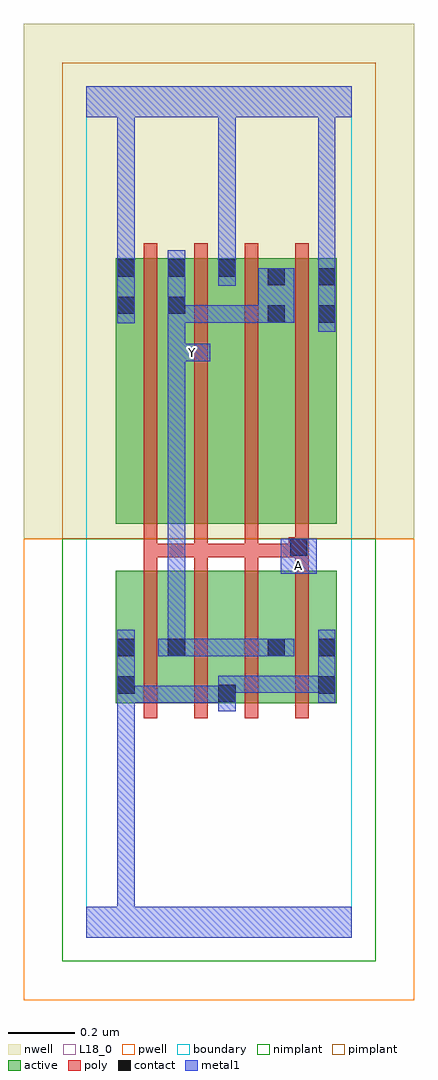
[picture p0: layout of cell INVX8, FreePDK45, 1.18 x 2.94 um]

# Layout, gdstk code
import gdstk
lib = gdstk.Library(unit=1e-6, precision=1e-09)
def R(c, l, rs):  # rectangles x0, y0, x1, y1
    for r in rs: c.add(gdstk.rectangle(r[:2], r[2:], *l))
def A(c, l, x, y, w, h, nx, ny, dx, dy):  # array of equal rectangles
    R(c, l, [(x+i*dx, y+j*dy, x+i*dx+w, y+j*dy+h) for i in range(nx) for j in range(ny)])
active = (1, 0)
pwell = (2, 0)
nwell = (3, 0)
nimplant = (4, 0)
pimplant = (5, 0)
poly = (9, 0)
contact = (10, 0)
metal1 = (11, 0)
L18_0 = (18, 0)
boundary = (235, 0)

invx8 = lib.new_cell('INVX8')
R(invx8, active, [(0.09,0.704,0.15,1.104), (0.09,0.704,0.302,1.104), (0.242,0.704,0.454,1.104), (0.394,0.704,0.454,1.104), (0.394,0.704,0.602,1.104), (0.542,0.704,0.754,1.104), (0.694,0.704,0.754,1.104), (0.242,0.756,0.302,1.104), (0.542,0.756,0.602,1.104), (0.09,1.244,0.15,2.044), (0.09,1.244,0.302,2.044), (0.242,1.244,0.454,2.044), (0.394,1.244,0.602,2.044), (0.542,1.244,0.754,2.044), (0.694,1.244,0.754,2.044), (0.542,1.544,0.602,2.044), (0.394,1.614,0.454,2.044), (0.242,1.684,0.302,2.044)])
R(invx8, pwell, [(-0.188,-0.188,0.988,1.2)])
R(invx8, nwell, [(-0.188,1.2,0.988,2.748)])
R(invx8, nimplant, [(-0.072,-0.072,0.872,1.2)])
R(invx8, pimplant, [(-0.072,1.2,0.872,2.632)])
A(invx8, poly, 0.174, 0.66, 0.04, 0.488, 4, 1, 0.152, 0)
A(invx8, poly, 0.174, 1.108, 0.04, 0.076, 4, 1, 0.152, 0)
A(invx8, poly, 0.174, 1.144, 0.04, 0.096, 3, 1, 0.152, 0)
A(invx8, poly, 0.174, 1.2, 0.04, 0.888, 4, 1, 0.152, 0)
R(invx8, poly, [(0.174,1.144,0.214,1.184), (0.174,1.144,0.214,1.184), (0.174,1.144,0.214,1.184), (0.174,1.144,0.214,1.184), (0.174,1.144,0.214,1.184), (0.174,1.144,0.366,1.184), (0.326,1.144,0.366,1.184), (0.326,1.144,0.366,1.184), (0.326,1.144,0.366,1.184), (0.326,1.144,0.366,1.184), (0.326,1.144,0.366,1.184), (0.326,1.144,0.518,1.184), (0.478,1.144,0.518,1.184), (0.478,1.144,0.518,1.184), (0.478,1.144,0.518,1.184), (0.478,1.144,0.65,1.184), (0.61,1.144,0.65,1.184), (0.61,1.144,0.65,1.184), (0.61,1.144,0.67,1.204), (0.63,1.164,0.67,1.24), (0.63,1.164,0.67,1.204), (0.63,1.164,0.67,1.204)])
A(invx8, contact, 0.094, 1.988, 0.052, 0.052, 3, 1, 0.152, 0)
R(invx8, contact, [(0.398,0.708,0.45,0.76), (0.094,0.734,0.146,0.786), (0.698,0.734,0.75,0.786), (0.094,0.846,0.146,0.898), (0.246,0.846,0.298,0.898), (0.546,0.846,0.598,0.898), (0.698,0.846,0.75,0.898), (0.614,1.148,0.666,1.2), (0.546,1.85,0.598,1.902), (0.698,1.85,0.75,1.902), (0.094,1.876,0.146,1.928), (0.246,1.876,0.298,1.928), (0.546,1.962,0.598,2.014), (0.698,1.962,0.75,2.014)])
R(invx8, metal1, [(0,0,0.8,0.092), (0.094,0.04,0.146,0.092), (0.094,0.04,0.146,0.092), (0.094,0.04,0.146,0.092), (0.094,0.04,0.146,0.092), (0.094,0.04,0.146,0.092), (0.094,0.04,0.146,0.092), (0.094,0.04,0.146,0.092), (0.094,0.04,0.146,0.092), (0.094,0.04,0.146,0.758), (0.398,0.68,0.45,0.788), (0.094,0.706,0.146,0.758), (0.094,0.706,0.146,0.758), (0.094,0.706,0.146,0.758), (0.094,0.706,0.146,0.758), (0.094,0.706,0.146,0.758), (0.094,0.706,0.146,0.758), (0.094,0.706,0.146,0.926), (0.094,0.706,0.34,0.758), (0.288,0.706,0.34,0.758), (0.288,0.706,0.34,0.758), (0.288,0.706,0.34,0.758), (0.288,0.706,0.45,0.758), (0.698,0.706,0.75,0.926), (0.398,0.736,0.45,0.788), (0.398,0.736,0.45,0.788), (0.398,0.736,0.64,0.788), (0.588,0.736,0.64,0.788), (0.588,0.736,0.64,0.788), (0.588,0.736,0.64,0.788), (0.588,0.736,0.75,0.788), (0.218,0.846,0.326,0.898), (0.246,0.846,0.298,1.786), (0.274,0.846,0.326,0.898), (0.274,0.846,0.326,0.898), (0.274,0.846,0.45,0.898), (0.398,0.846,0.45,0.898), (0.398,0.846,0.45,0.898), (0.398,0.846,0.45,0.898), (0.398,0.846,0.57,0.898), (0.518,0.846,0.626,0.898), (0.586,1.094,0.694,1.2), (0.246,1.734,0.298,1.9), (0.246,1.734,0.374,1.786), (0.698,1.822,0.75,2.042), (0.094,1.848,0.146,2.068), (0.246,1.848,0.298,1.9), (0.246,1.848,0.298,1.9), (0.246,1.848,0.298,2.068), (0.246,1.85,0.298,1.902), (0.246,1.85,0.298,1.902), (0.246,1.85,0.46,1.902), (0.408,1.85,0.46,1.902), (0.408,1.85,0.46,1.902), (0.408,1.85,0.46,1.902), (0.408,1.85,0.57,1.902), (0.518,1.85,0.626,2.014), (0.398,1.96,0.45,2.068), (0.698,1.99,0.75,2.52), (0.094,2.016,0.146,2.068), (0.094,2.016,0.146,2.068), (0.094,2.016,0.146,2.068), (0.094,2.016,0.146,2.068), (0.094,2.016,0.146,2.068), (0.094,2.016,0.146,2.068), (0.094,2.016,0.146,2.068), (0.094,2.016,0.146,2.068), (0.094,2.016,0.146,2.52), (0.398,2.016,0.45,2.068), (0.398,2.016,0.45,2.068), (0.398,2.016,0.45,2.068), (0.398,2.016,0.45,2.068), (0.398,2.016,0.45,2.068), (0.398,2.016,0.45,2.068), (0.398,2.016,0.45,2.52), (0,2.468,0.8,2.56), (0.398,2.468,0.45,2.52), (0.398,2.468,0.45,2.52), (0.698,2.468,0.75,2.52), (0.698,2.468,0.75,2.52), (0.698,2.468,0.75,2.52), (0.698,2.468,0.75,2.52), (0.698,2.468,0.75,2.52), (0.698,2.468,0.75,2.52), (0.698,2.468,0.75,2.52), (0.698,2.468,0.75,2.52)])
R(invx8, L18_0, [(0,0,0.8,0.092), (0.094,0.04,0.146,0.092), (0.094,0.04,0.146,0.092), (0.094,0.04,0.146,0.092), (0.094,0.04,0.146,0.092), (0.094,0.04,0.146,0.092), (0.094,0.04,0.146,0.092), (0.094,0.04,0.146,0.092), (0.094,0.04,0.146,0.092), (0.094,0.04,0.146,0.758), (0.398,0.68,0.45,0.788), (0.094,0.706,0.146,0.758), (0.094,0.706,0.146,0.758), (0.094,0.706,0.146,0.758), (0.094,0.706,0.146,0.758), (0.094,0.706,0.146,0.758), (0.094,0.706,0.146,0.758), (0.094,0.706,0.146,0.926), (0.094,0.706,0.34,0.758), (0.288,0.706,0.34,0.758), (0.288,0.706,0.34,0.758), (0.288,0.706,0.34,0.758), (0.288,0.706,0.45,0.758), (0.698,0.706,0.75,0.926), (0.398,0.736,0.45,0.788), (0.398,0.736,0.45,0.788), (0.398,0.736,0.64,0.788), (0.588,0.736,0.64,0.788), (0.588,0.736,0.64,0.788), (0.588,0.736,0.64,0.788), (0.588,0.736,0.75,0.788), (0.218,0.846,0.326,0.898), (0.246,0.846,0.298,1.786), (0.274,0.846,0.326,0.898), (0.274,0.846,0.326,0.898), (0.274,0.846,0.45,0.898), (0.398,0.846,0.45,0.898), (0.398,0.846,0.45,0.898), (0.398,0.846,0.45,0.898), (0.398,0.846,0.57,0.898), (0.518,0.846,0.626,0.898), (0.586,1.094,0.694,1.2), (0.614,1.094,0.666,1.146), (0.246,1.734,0.374,1.786), (0.246,1.734,0.298,1.9), (0.294,1.734,0.346,1.786), (0.698,1.822,0.75,2.042), (0.094,1.848,0.146,2.068), (0.246,1.848,0.298,1.9), (0.246,1.848,0.298,1.9), (0.246,1.848,0.298,2.068), (0.246,1.85,0.298,1.902), (0.246,1.85,0.298,1.902), (0.246,1.85,0.46,1.902), (0.408,1.85,0.46,1.902), (0.408,1.85,0.46,1.902), (0.408,1.85,0.46,1.902), (0.408,1.85,0.57,1.902), (0.518,1.85,0.626,2.014), (0.398,1.96,0.45,2.068), (0.698,1.99,0.75,2.52), (0.094,2.016,0.146,2.068), (0.094,2.016,0.146,2.068), (0.094,2.016,0.146,2.068), (0.094,2.016,0.146,2.068), (0.094,2.016,0.146,2.068), (0.094,2.016,0.146,2.068), (0.094,2.016,0.146,2.068), (0.094,2.016,0.146,2.068), (0.094,2.016,0.146,2.52), (0.398,2.016,0.45,2.068), (0.398,2.016,0.45,2.068), (0.398,2.016,0.45,2.068), (0.398,2.016,0.45,2.068), (0.398,2.016,0.45,2.068), (0.398,2.016,0.45,2.068), (0.398,2.016,0.45,2.52), (0,2.468,0.8,2.56), (0.398,2.468,0.45,2.52), (0.398,2.468,0.45,2.52), (0.698,2.468,0.75,2.52), (0.698,2.468,0.75,2.52), (0.698,2.468,0.75,2.52), (0.698,2.468,0.75,2.52), (0.698,2.468,0.75,2.52), (0.698,2.468,0.75,2.52), (0.698,2.468,0.75,2.52), (0.698,2.468,0.75,2.52)])
R(invx8, boundary, [(0,0,0.8,2.56)])
invx8.add(gdstk.Label('A', (0.64,1.12), layer=11, texttype=0))
invx8.add(gdstk.Label('Y', (0.32,1.76), layer=11, texttype=0))

lib.write_gds('INVX8.gds')
